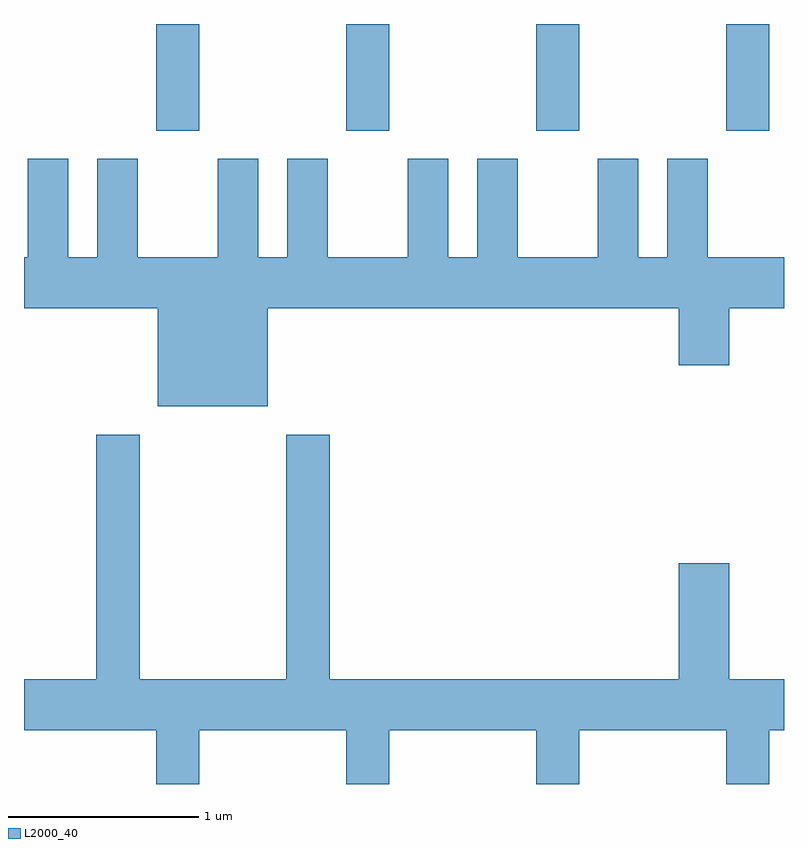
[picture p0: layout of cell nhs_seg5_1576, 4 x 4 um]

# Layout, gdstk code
import gdstk
lib = gdstk.Library(unit=1e-6, precision=1e-09)
def R(c, l, rs):  # rectangles x0, y0, x1, y1
    for r in rs: c.add(gdstk.rectangle(r[:2], r[2:], *l))
def A(c, l, x, y, w, h, nx, ny, dx, dy):  # array of equal rectangles
    R(c, l, [(x+i*dx, y+j*dy, x+i*dx+w, y+j*dy+h) for i in range(nx) for j in range(ny)])
def P(c, l, *ps):  # polygons
    for p in ps: c.add(gdstk.Polygon(p, *l))
L2000_40 = (2000, 40)

nhs_seg5_1576 = lib.new_cell('nhs_seg5_1576')
A(nhs_seg5_1576, L2000_40, 232.306, 1455.511, 0.228, 0.561, 4, 1, 1, 0)
P(nhs_seg5_1576, L2000_40, [(232.894,1454.576),(235.056,1454.576),(235.056,1454.276),(235.324,1454.276),(235.324,1454.576),(235.611,1454.576),(235.611,1454.844),(235.209,1454.844),(235.209,1455.364),(234.996,1455.364),(234.996,1454.844),(234.844,1454.844),(234.844,1455.364),(234.631,1455.364),(234.631,1454.844),(234.209,1454.844),(234.209,1455.364),(233.996,1455.364),(233.996,1454.844),(233.844,1454.844),(233.844,1455.364),(233.631,1455.364),(233.631,1454.844),(233.209,1454.844),(233.209,1455.364),(232.996,1455.364),(232.996,1454.844),(232.844,1454.844),(232.844,1455.364),(232.631,1455.364),(232.631,1454.844),(232.209,1454.844),(232.209,1455.364),(231.996,1455.364),(231.996,1454.844),(231.844,1454.844),(231.844,1455.364),(231.631,1455.364),(231.631,1454.844),(231.611,1454.844),(231.611,1454.576),(232.316,1454.576),(232.316,1454.061),(232.894,1454.061)],
  [(233.306,1452.072),(233.534,1452.072),(233.534,1452.356),(234.306,1452.356),(234.306,1452.072),(234.534,1452.072),(234.534,1452.356),(235.306,1452.356),(235.306,1452.072),(235.534,1452.072),(235.534,1452.356),(235.611,1452.356),(235.611,1452.624),(235.324,1452.624),(235.324,1453.234),(235.056,1453.234),(235.056,1452.624),(233.219,1452.624),(233.219,1453.909),(232.991,1453.909),(232.991,1452.624),(232.219,1452.624),(232.219,1453.909),(231.991,1453.909),(231.991,1452.624),(231.611,1452.624),(231.611,1452.356),(232.306,1452.356),(232.306,1452.072),(232.534,1452.072),(232.534,1452.356),(233.306,1452.356)])

lib.write_gds('nhs_seg5_1576.gds')
